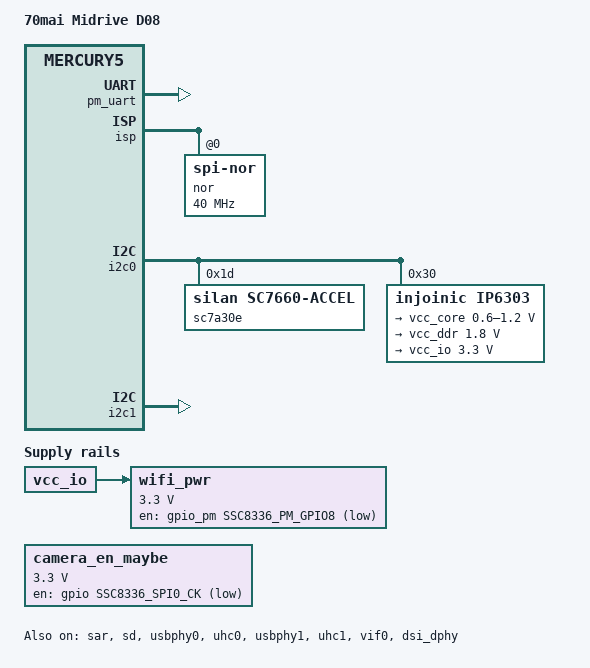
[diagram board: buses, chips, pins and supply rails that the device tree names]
// SPDX-License-Identifier: GPL-2.0-or-later
/*
 * Copyright (c) 2020 thingy.jp.
 * Author: Daniel Palmer <daniel@thingy.jp>
 */

/dts-v1/;

#include "mstar-mercury5-ssc8336n.dtsi"
#include <dt-bindings/gpio/gpio.h>
#include <dt-bindings/gpio/msc313-gpio.h>

/ {
	model = "70mai Midrive D08";
	compatible = "70mai,midrived08", "mstar,mercury5";

	aliases {
		serial0 = &pm_uart;
	};

	chosen {
		stdout-path = "serial0:115200n8";
	};

	dummyirq: dummyirq@0 {
		compatible = "dummy-irq";
		interrupts-extended = <&intc_irq 63 IRQ_TYPE_LEVEL_HIGH>,
				      <&intc_irq 62 IRQ_TYPE_LEVEL_HIGH>,
			      <&intc_irq 61 IRQ_TYPE_LEVEL_HIGH>,
				<&intc_irq 60 IRQ_TYPE_LEVEL_HIGH>,
				<&intc_irq 59 IRQ_TYPE_LEVEL_HIGH>,
				<&intc_irq 58 IRQ_TYPE_LEVEL_HIGH>,
				<&intc_irq 57 IRQ_TYPE_LEVEL_HIGH>,
				<&intc_irq 56 IRQ_TYPE_LEVEL_HIGH>,
				<&intc_irq 55 IRQ_TYPE_LEVEL_HIGH>,
				<&intc_irq 54 IRQ_TYPE_LEVEL_HIGH>,
				<&intc_irq 53 IRQ_TYPE_LEVEL_HIGH>,
				<&intc_irq 52 IRQ_TYPE_LEVEL_HIGH>,
				<&intc_irq 51 IRQ_TYPE_LEVEL_HIGH>,
				<&intc_irq 50 IRQ_TYPE_LEVEL_HIGH>,
				<&intc_irq 49 IRQ_TYPE_LEVEL_HIGH>,
				<&intc_irq 48 IRQ_TYPE_LEVEL_HIGH>,
				<&intc_irq 47 IRQ_TYPE_LEVEL_HIGH>,
				<&intc_irq 46 IRQ_TYPE_LEVEL_HIGH>,
				<&intc_irq 45 IRQ_TYPE_LEVEL_HIGH>,
				<&intc_irq 44 IRQ_TYPE_LEVEL_HIGH>,
				<&intc_irq 43 IRQ_TYPE_LEVEL_HIGH>,
				<&intc_irq 42 IRQ_TYPE_LEVEL_HIGH>,
				<&intc_irq 41 IRQ_TYPE_LEVEL_HIGH>,
				<&intc_irq 40 IRQ_TYPE_LEVEL_HIGH>,
				<&intc_irq 39 IRQ_TYPE_LEVEL_HIGH>,
				<&intc_irq 38 IRQ_TYPE_LEVEL_HIGH>,
				<&intc_irq 37 IRQ_TYPE_LEVEL_HIGH>,
				<&intc_irq 36 IRQ_TYPE_LEVEL_HIGH>,
				<&intc_irq 35 IRQ_TYPE_LEVEL_HIGH>,
				<&intc_irq 34 IRQ_TYPE_LEVEL_HIGH>,
				<&intc_irq 33 IRQ_TYPE_LEVEL_HIGH>,
				<&intc_irq 32 IRQ_TYPE_LEVEL_HIGH>,
				<&intc_irq 31 IRQ_TYPE_LEVEL_HIGH>,
				<&intc_irq 30 IRQ_TYPE_LEVEL_HIGH>,
				<&intc_irq 29 IRQ_TYPE_LEVEL_HIGH>,
				<&intc_irq 28 IRQ_TYPE_LEVEL_HIGH>,
				<&intc_irq 27 IRQ_TYPE_LEVEL_HIGH>,
				<&intc_irq 26 IRQ_TYPE_LEVEL_HIGH>,
				<&intc_irq 25 IRQ_TYPE_LEVEL_HIGH>,
				<&intc_irq 24 IRQ_TYPE_LEVEL_HIGH>,
				<&intc_irq 23 IRQ_TYPE_LEVEL_HIGH>,
				<&intc_irq 22 IRQ_TYPE_LEVEL_HIGH>,
				<&intc_irq 21 IRQ_TYPE_LEVEL_HIGH>,
				<&intc_irq 20 IRQ_TYPE_LEVEL_HIGH>,
				<&intc_irq 19 IRQ_TYPE_LEVEL_HIGH>,
				<&intc_irq 18 IRQ_TYPE_LEVEL_HIGH>,
				<&intc_irq 17 IRQ_TYPE_LEVEL_HIGH>,
				<&intc_irq 16 IRQ_TYPE_LEVEL_HIGH>,
				<&intc_irq 15 IRQ_TYPE_LEVEL_HIGH>,
				<&intc_irq 14 IRQ_TYPE_LEVEL_HIGH>,
				<&intc_irq 13 IRQ_TYPE_LEVEL_HIGH>,
				<&intc_irq 12 IRQ_TYPE_LEVEL_HIGH>,
				<&intc_irq 11 IRQ_TYPE_LEVEL_HIGH>,
				<&intc_irq 10 IRQ_TYPE_LEVEL_HIGH>,
				<&intc_irq 9 IRQ_TYPE_LEVEL_HIGH>,
				<&intc_irq 8 IRQ_TYPE_LEVEL_HIGH>,
				<&intc_irq 7 IRQ_TYPE_LEVEL_HIGH>,
				<&intc_irq 6 IRQ_TYPE_LEVEL_HIGH>,
				<&intc_irq 5 IRQ_TYPE_LEVEL_HIGH>,
				<&intc_irq 4 IRQ_TYPE_LEVEL_HIGH>,
				<&intc_irq 3 IRQ_TYPE_LEVEL_HIGH>,
				<&intc_irq 2 IRQ_TYPE_LEVEL_HIGH>,
				<&intc_irq 1 IRQ_TYPE_LEVEL_HIGH>,
				<&intc_irq 0 IRQ_TYPE_LEVEL_HIGH>,

				<&intc_fiq 31 IRQ_TYPE_LEVEL_HIGH>,
				<&intc_fiq 30 IRQ_TYPE_LEVEL_HIGH>,
				<&intc_fiq 29 IRQ_TYPE_LEVEL_HIGH>,
				<&intc_fiq 28 IRQ_TYPE_LEVEL_HIGH>,
				<&intc_fiq 27 IRQ_TYPE_LEVEL_HIGH>,
				<&intc_fiq 26 IRQ_TYPE_LEVEL_HIGH>,
				<&intc_fiq 25 IRQ_TYPE_LEVEL_HIGH>,
				<&intc_fiq 24 IRQ_TYPE_LEVEL_HIGH>,
				<&intc_fiq 23 IRQ_TYPE_LEVEL_HIGH>,
				<&intc_fiq 22 IRQ_TYPE_LEVEL_HIGH>,
				<&intc_fiq 21 IRQ_TYPE_LEVEL_HIGH>,
				<&intc_fiq 20 IRQ_TYPE_LEVEL_HIGH>,
				<&intc_fiq 19 IRQ_TYPE_LEVEL_HIGH>,
				<&intc_fiq 18 IRQ_TYPE_LEVEL_HIGH>,
				<&intc_fiq 17 IRQ_TYPE_LEVEL_HIGH>,
				<&intc_fiq 16 IRQ_TYPE_LEVEL_HIGH>,
				<&intc_fiq 15 IRQ_TYPE_LEVEL_HIGH>,
				<&intc_fiq 14 IRQ_TYPE_LEVEL_HIGH>,
				<&intc_fiq 13 IRQ_TYPE_LEVEL_HIGH>,
				<&intc_fiq 12 IRQ_TYPE_LEVEL_HIGH>,
				<&intc_fiq 11 IRQ_TYPE_LEVEL_HIGH>,
				<&intc_fiq 10 IRQ_TYPE_LEVEL_HIGH>,
				<&intc_fiq 9 IRQ_TYPE_LEVEL_HIGH>,
				<&intc_fiq 8 IRQ_TYPE_LEVEL_HIGH>,
				<&intc_fiq 7 IRQ_TYPE_LEVEL_HIGH>,
				<&intc_fiq 6 IRQ_TYPE_LEVEL_HIGH>,
				<&intc_fiq 5 IRQ_TYPE_LEVEL_HIGH>,
				<&intc_fiq 4 IRQ_TYPE_LEVEL_HIGH>,
				<&intc_fiq 3 IRQ_TYPE_LEVEL_HIGH>,
				<&intc_fiq 2 IRQ_TYPE_LEVEL_HIGH>,
				<&intc_fiq 1 IRQ_TYPE_LEVEL_HIGH>,
				<&intc_fiq 0 IRQ_TYPE_LEVEL_HIGH>;
		status = "disabled";
	};

	 wifi_pwr: fixedregulator@0 {
		compatible = "regulator-fixed";
		regulator-name = "wifi_pwr";
		regulator-min-microvolt = <3300000>;
		regulator-max-microvolt = <3300000>;
		gpio = <&gpio_pm SSC8336_PM_GPIO8 0>;
		vin-supply = <&vcc_io>;
	};

	camera_en_maybe: fixedregulator@0 {
		compatible = "regulator-fixed";
		regulator-name = "camera_en";
		regulator-min-microvolt = <3300000>;
		regulator-max-microvolt = <3300000>;
		gpio = <&gpio SSC8336_SPI0_CK GPIO_ACTIVE_HIGH>;
	};

};

&cpu0 {
	cpu-supply = <&vcc_core>;
};

&pm_uart {
	status = "okay";
};

&isp {
	status = "okay";
	nor: nor@0 {
		#address-cells = <1>;
		#size-cells = <1>;
		compatible = "jedec,spi-nor";
		reg = <0>;
		spi-max-frequency = <40000000>;
	};
};

&i2c0 {
	status = "okay";
	sc7a30e: sc7660@1d {
		compatible = "silan,sc7660-accel";
		reg = <0x1d>;
	};

	ip6303: ip6303@30 {
		compatible = "injoinic,ip6303";
		reg = <0x30>;
		regulators {
			vcc_core: dc1 {
				regulator-name = "vcc-core";
				regulator-min-microvolt = <600000>;
				regulator-max-microvolt = <1200000>;
				regulator-always-on;
			};

			vcc_ddr: dc2 {
				regulator-name = "vcc-ddr";
				regulator-min-microvolt = <1800000>;
				regulator-max-microvolt = <1800000>;
				regulator-always-on;
			};

			vcc_io: dc3 {
				regulator-name = "vcc-io";
				regulator-min-microvolt = <3300000>;
				regulator-max-microvolt = <3300000>;
				regulator-always-on;
			};
		};
	};
};

&i2c1 {
	status = "okay";
};

&sar {
	// front buttons are on here
	status = "okay";
};

&sd {
	vmmc-supply = <&vcc_io>;
	vqmmc-supply = <&vcc_io>;
	cd-gpios = <&gpio_pm SSC8336_PM_SD_SDZ GPIO_ACTIVE_LOW>;
	status = "okay";
};

&miu {
	ddr-supply = <&vcc_ddr>;
};

&usbphy0 {
	mstar,utmi-dxswap;
	status = "okay";
};

&uhc0 {
	status = "okay";
};

&usbphy1 {
	mstar,utmi-dxswap;
	status = "okay";
};

&uhc1 {
	status = "okay";
};

&vif0 {
	mstar,vif-src = "mipi-4-lane";
	pinctrl-names = "default";
	pinctrl-0 = <&sr0_mipi_mode2_pins>;
	status = "okay";
};

&dsi_dphy {
	mstar,dphy-mode = "2 lanes";
	pinctrl-names = "default";
	pinctrl-0 = <&tx_mipi_mode2_pins>;
	status = "okay";
};
